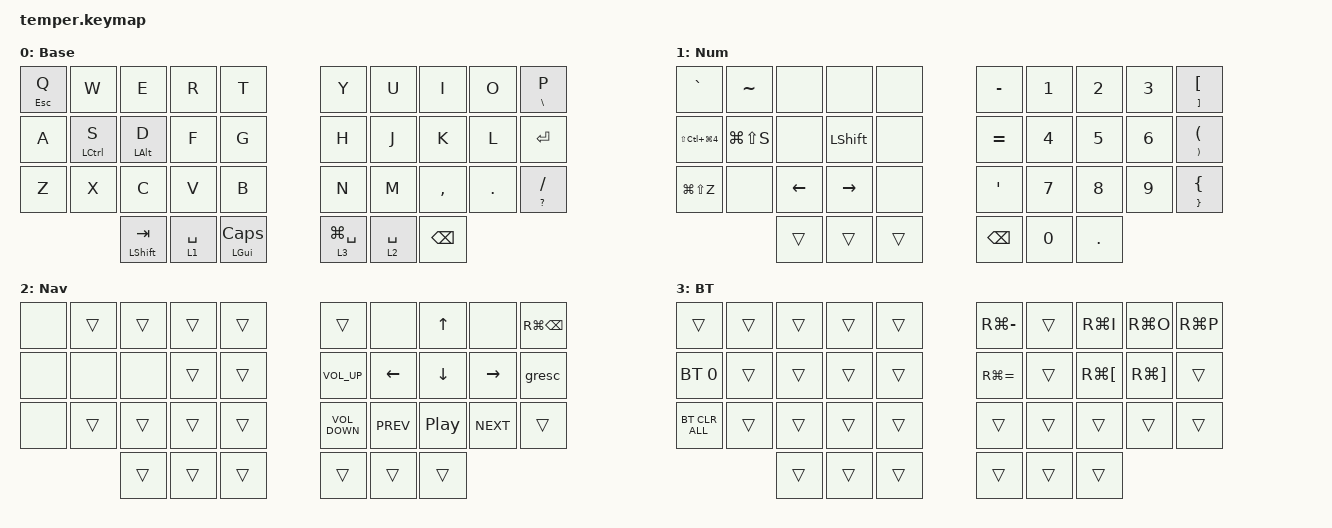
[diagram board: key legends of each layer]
/*
 * Copyright (c) 2020 The ZMK Contributors
 *
 * SPDX-License-Identifier: MIT
 */

#include <behaviors.dtsi>
#include <dt-bindings/zmk/bt.h>
#include <dt-bindings/zmk/keys.h>

#define QWERTY 0
#define NUM 1
#define NAV 2
#define FUN 3

&mt {
    tapping-term-ms = <140>;
    flavor = "tap-preferred";
};

&lt { tapping-term-ms = <140>; };

/ {
    conditional_layers { compatible = "zmk,conditional-layers"; };

    behaviors {
        bspc_del: backspace_delete {
            compatible = "zmk,behavior-mod-morph";
            #binding-cells = <0>;
            bindings = <&kp BACKSPACE>, <&kp DELETE>;

            mods = <(MOD_LSFT|MOD_RSFT)>;
            keep-mods = <(MOD_RSFT)>;
        };

        super_bspc: super_backspace {
            compatible = "zmk,behavior-mod-morph";
            #binding-cells = <0>;
            bindings = <&kp BACKSPACE>, <&kp LA(BACKSPACE)>;

            mods = <(MOD_LSFT|MOD_RSFT)>;
        };

        smart_shft: smart_shift {
            compatible = "zmk,behavior-mod-morph";
            #binding-cells = <0>;
            bindings = <&kp LSHFT>, <&caps_word>;

            mods = <(MOD_LSFT)>;
        };

        comma_semi: comma_semi {
            compatible = "zmk,behavior-mod-morph";
            #binding-cells = <0>;
            bindings = <&kp COMMA>, <&kp SEMI>;

            mods = <(MOD_LSFT)>;
        };

        dot_colon: dot_colon {
            compatible = "zmk,behavior-mod-morph";
            #binding-cells = <0>;
            bindings = <&kp DOT>, <&kp COLON>;

            mods = <(MOD_LSFT)>;
        };

        qmrk_excl: qmrk_excl {
            compatible = "zmk,behavior-mod-morph";
            #binding-cells = <0>;
            bindings = <&kp QMARK>, <&kp EXCL>;

            mods = <(MOD_LSFT)>;
        };

        slh_morph: slh_morph {
            compatible = "zmk,behavior-mod-morph";
            #binding-cells = <0>;
            bindings = <&kp FSLH>, <&kp BSLH>;

            mods = <(MOD_LSFT)>;
        };

        amps_morph: amps_morph {
            compatible = "zmk,behavior-mod-morph";
            #binding-cells = <0>;
            bindings = <&kp AMPS>, <&kp PIPE>;

            mods = <(MOD_LSFT)>;
        };

        hm: homerow_mods {
            compatible = "zmk,behavior-hold-tap";
            label = "homerow_mods";
            bindings = <&kp>, <&kp>;

            #binding-cells = <2>;
            flavor = "tap-preferred";
            tapping-term-ms = <140>;
        };

        ltq: ltq {
            compatible = "zmk,behavior-hold-tap";
            label = "LTQ";
            bindings = <&mo>, <&kp>;

            #binding-cells = <2>;
            tapping-term-ms = <200>;
            quick-tap-ms = <180>;
        };
    };

    combos {
        compatible = "zmk,combos";

        semicolon {
            bindings = <&kp SEMICOLON>;
            key-positions = <27 28>;
            layers = <0>;
        };

        softoffr {
            bindings = <&soft_off>;
            key-positions = <0 32>;
        };
    };

    keymap {
        compatible = "zmk,keymap";

        qwerty_layer {
            display-name = "Base";
            bindings = <
  &hm ESCAPE Q  &kp W               &kp E               &kp R        &kp T                    &kp Y            &kp U        &kp I          &kp O    &hm BACKSLASH P
  &kp A         &hm LEFT_CONTROL S  &hm LEFT_ALT D      &kp F        &kp G                    &kp H            &kp J        &kp K          &kp L    &kp ENTER
  &kp Z         &kp X               &kp C               &kp V        &kp B                    &kp N            &kp M        &kp COMMA      &kp DOT  &hm QUESTION SLASH
                                    &hm LEFT_SHIFT TAB  &lt 1 SPACE  &hm LEFT_GUI CAPSLOCK    &lt 3 LG(SPACE)  &lt 2 SPACE  &kp BACKSPACE
            >;
        };

        num_layer {
            display-name = "Num";
            bindings = <
  &kp GRAVE                 &kp TILDE      &none           &none            &none     &kp MINUS      &kp NUMBER_1  &kp NUMBER_2  &kp NUMBER_3  &hm RIGHT_BRACKET LEFT_BRACKET
  &kp LS(LC(LG(NUMBER_4)))  &kp LG(LS(S))  &none           &kp LEFT_SHIFT   &none     &kp EQUAL      &kp NUMBER_4  &kp NUMBER_5  &kp NUMBER_6  &hm RIGHT_PARENTHESIS LEFT_PARENTHESIS
  &kp LG(LS(Z))             &none          &kp LEFT_ARROW  &kp RIGHT_ARROW  &none     &kp SQT        &kp NUMBER_7  &kp NUMBER_8  &kp NUMBER_9  &hm RIGHT_BRACE LEFT_BRACE
                                           &trans          &trans           &trans    &kp BACKSPACE  &kp N0        &kp DOT
            >;
        };

        nav_layer {
            display-name = "Nav";
            bindings = <
  &none  &trans  &trans  &trans  &trans    &trans             &none       &kp UP_ARROW  &none       &kp RG(BACKSPACE)
  &none  &none   &none   &trans  &trans    &kp C_VOLUME_UP    &kp LEFT    &kp DOWN      &kp RIGHT   &gresc
  &none  &trans  &trans  &trans  &trans    &kp C_VOLUME_DOWN  &kp C_PREV  &kp C_PP      &kp C_NEXT  &trans
                 &trans  &trans  &trans    &trans             &trans      &trans
            >;
        };

        layer_3 {
            bindings = <
  &trans          &trans  &trans  &trans  &trans    &kp RG(MINUS)  &trans  &kp RG(I)             &kp RG(O)              &kp RG(P)
  &bt BT_SEL 0    &trans  &trans  &trans  &trans    &kp RG(EQUAL)  &trans  &kp RG(LEFT_BRACKET)  &kp RG(RIGHT_BRACKET)  &trans
  &bt BT_CLR_ALL  &trans  &trans  &trans  &trans    &trans         &trans  &trans                &trans                 &trans
                          &trans  &trans  &trans    &trans         &trans  &trans
            >;

            label = "BT";
        };
    };
};
